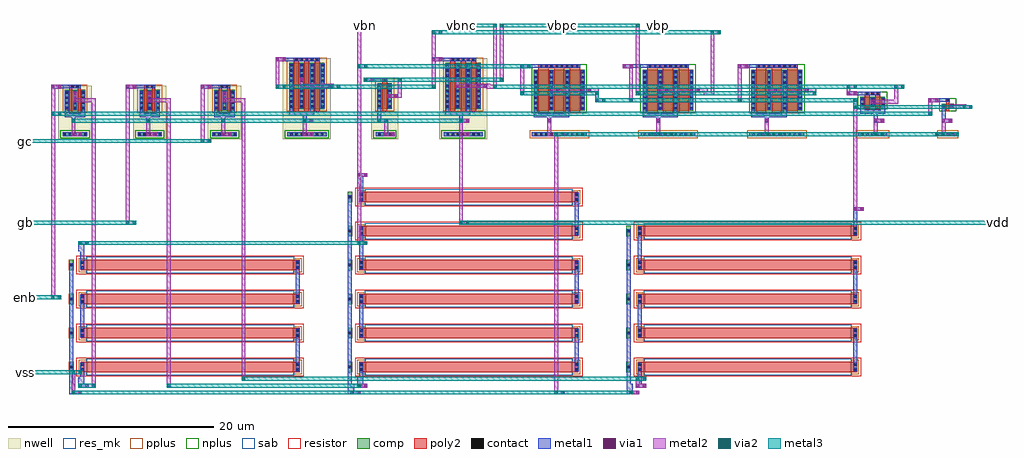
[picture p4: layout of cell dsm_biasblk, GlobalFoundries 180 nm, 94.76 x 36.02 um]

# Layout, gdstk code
import gdstk
lib = gdstk.Library(unit=1e-6, precision=1e-09)
def R(c, l, rs):  # rectangles x0, y0, x1, y1
    for r in rs: c.add(gdstk.rectangle(r[:2], r[2:], *l))
def A(c, l, x, y, w, h, nx, ny, dx, dy):  # array of equal rectangles
    R(c, l, [(x+i*dx, y+j*dy, x+i*dx+w, y+j*dy+h) for i in range(nx) for j in range(ny)])
nwell = (21, 0)
comp = (22, 0)
poly2 = (30, 0)
pplus = (31, 0)
nplus = (32, 0)
contact = (33, 0)
metal1 = (34, 0)
via1 = (35, 0)
metal2 = (36, 0)
via2 = (38, 0)
metal3 = (42, 0)
sab = (49, 0)
resistor = (62, 0)
res_mk = (110, 5)

dsm_biasblk_d8_n_m = lib.new_cell('dsm_biasblk_d8_n_m')
R(dsm_biasblk_d8_n_m, comp, [(0,0,1.16,0.5)])
R(dsm_biasblk_d8_n_m, poly2, [(0.44,-0.22,0.72,1.02), (0.4,0.66,0.76,1.02)])
R(dsm_biasblk_d8_n_m, nplus, [(-0.23,-0.23,1.39,1.02)])
R(dsm_biasblk_d8_n_m, contact, [(0.07,0.14,0.29,0.36), (0.87,0.14,1.09,0.36), (0.47,0.73,0.69,0.95)])
R(dsm_biasblk_d8_n_m, metal1, [(-0.01,-0.63,0.37,-0.25), (-0.01,-0.25,0.37,0.42), (0.79,0.06,1.17,0.44), (0.79,0.06,1.17,0.44), (-0.01,0.08,0.37,0.42), (0.79,0.08,1.17,0.42), (0.4,0.67,0.76,1.01)])
R(dsm_biasblk_d8_n_m, via1, [(0.85,0.12,1.11,0.38)])
R(dsm_biasblk_d8_n_m, metal2, [(0.79,0.06,1.17,0.44), (0.79,0.06,1.17,0.44), (0.79,0.06,1.17,0.44)])

dsm_biasblk_d8_n = lib.new_cell('dsm_biasblk_d8_n')
R(dsm_biasblk_d8_n, comp, [(1.6,0.48,3.16,0.84)])
R(dsm_biasblk_d8_n, pplus, [(1.37,0.25,3.39,1.07)])
A(dsm_biasblk_d8_n, contact, 1.77, 0.55, 0.22, 0.22, 3, 1, 0.5, 0)
R(dsm_biasblk_d8_n, metal1, [(1.6,0.47,3.16,0.85), (2.45,0.47,2.83,0.85), (1.79,1.79,2.17,2.87), (0.47,3.77,0.85,4.15), (0.47,3.79,2.56,4.13)])
R(dsm_biasblk_d8_n, metal2, [(3.77,3.11,4.15,3.56), (2.59,3.18,4.15,3.56)])
dsm_biasblk_d8_n.add(gdstk.Reference(dsm_biasblk_d8_n_m, (1.8,3.12)))

dsm_biasblk_d7_n_m = lib.new_cell('dsm_biasblk_d7_n_m')
R(dsm_biasblk_d7_n_m, comp, [(0,0,2.4,1)])
R(dsm_biasblk_d7_n_m, poly2, [(0.44,-0.22,0.94,1.5), (1.46,-0.22,1.96,1.5), (0.44,1.14,1.96,1.5)])
R(dsm_biasblk_d7_n_m, nplus, [(-0.23,-0.23,2.63,1.5)])
A(dsm_biasblk_d7_n_m, contact, 0.07, 0.14, 0.22, 0.22, 3, 2, 1.02, 0.5)
A(dsm_biasblk_d7_n_m, contact, 0.59, 1.21, 0.22, 0.22, 3, 1, 0.5, 0)
A(dsm_biasblk_d7_n_m, metal1, -0.01, 0.08, 0.38, 0.84, 3, 1, 1.02, 0)
R(dsm_biasblk_d7_n_m, metal1, [(-0.01,-0.63,2.41,-0.25), (-0.01,-0.25,0.37,0.92), (2.03,-0.25,2.41,0.92), (1.01,0.31,1.39,0.69), (1.01,0.31,1.39,0.69), (0.44,1.15,1.96,1.49)])
R(dsm_biasblk_d7_n_m, via1, [(1.07,0.37,1.33,0.63)])
R(dsm_biasblk_d7_n_m, metal2, [(1.01,0.31,1.39,0.69), (1.01,0.31,1.39,0.69), (1.01,0.31,1.39,0.69)])

dsm_biasblk_d7_n = lib.new_cell('dsm_biasblk_d7_n')
R(dsm_biasblk_d7_n, comp, [(1.6,0.48,4.4,0.84)])
R(dsm_biasblk_d7_n, pplus, [(1.37,0.25,4.63,1.07)])
A(dsm_biasblk_d7_n, contact, 1.89, 0.55, 0.22, 0.22, 5, 1, 0.5, 0)
R(dsm_biasblk_d7_n, metal1, [(1.6,0.47,4.4,0.85), (3.11,0.47,3.49,0.85), (3.11,1.79,3.49,3.05), (0.47,4.43,0.85,4.81), (0.47,4.45,3.76,4.79)])
R(dsm_biasblk_d7_n, metal2, [(2.81,3.61,5.47,3.99), (5.09,3.61,5.47,4.15)])
dsm_biasblk_d7_n.add(gdstk.Reference(dsm_biasblk_d7_n_m, (1.8,3.3)))

dsm_biasblk_d6_n_m = lib.new_cell('dsm_biasblk_d6_n_m')
R(dsm_biasblk_d6_n_m, comp, [(0,0,4.92,4)])
A(dsm_biasblk_d6_n_m, poly2, 0.44, -0.22, 1, 4.72, 3, 1, 1.52, 0)
R(dsm_biasblk_d6_n_m, poly2, [(0.44,4.14,4.48,4.5)])
R(dsm_biasblk_d6_n_m, nplus, [(-0.23,-0.23,5.15,4.5)])
A(dsm_biasblk_d6_n_m, contact, 0.07, 0.14, 0.22, 0.22, 4, 8, 1.52, 0.5)
A(dsm_biasblk_d6_n_m, contact, 0.6, 4.21, 0.22, 0.22, 8, 1, 0.5, 0)
A(dsm_biasblk_d6_n_m, metal1, -0.01, 0.08, 0.38, 3.84, 4, 1, 1.52, 0)
R(dsm_biasblk_d6_n_m, metal1, [(-0.01,-0.63,3.41,-0.25), (-0.01,-0.25,0.37,3.92), (3.03,-0.25,3.41,3.92), (1.51,1.81,2.51,2.19), (1.51,1.81,1.89,2.19), (1.51,1.81,1.89,2.19), (4.55,1.81,5.55,2.19), (4.55,1.81,4.93,2.19), (4.55,1.81,4.93,2.19), (0.44,4.15,4.48,4.49)])
R(dsm_biasblk_d6_n_m, via1, [(1.57,1.87,1.83,2.13), (2.19,1.87,2.45,2.13), (4.61,1.87,4.87,2.13), (5.23,1.87,5.49,2.13)])
R(dsm_biasblk_d6_n_m, metal2, [(1.51,1.81,2.51,2.19), (1.51,1.81,4.93,2.19), (1.51,1.81,1.89,2.19), (1.51,1.81,1.89,2.19), (4.55,1.81,5.55,2.19), (4.55,1.81,4.93,2.19), (4.55,1.81,4.93,2.19)])

dsm_biasblk_d6_n = lib.new_cell('dsm_biasblk_d6_n')
R(dsm_biasblk_d6_n, comp, [(1.6,1.14,6.92,1.5)])
R(dsm_biasblk_d6_n, pplus, [(1.37,0.91,7.15,1.73)])
A(dsm_biasblk_d6_n, contact, 1.9, 1.21, 0.22, 0.22, 10, 1, 0.5, 0)
R(dsm_biasblk_d6_n, metal1, [(1.6,1.13,6.92,1.51), (3.77,1.13,4.15,1.51), (3.11,2.45,3.49,3.35), (0.47,7.73,0.85,8.11), (0.47,7.75,6.28,8.09)])
R(dsm_biasblk_d6_n, metal2, [(7.73,5.09,8.11,5.79), (3.31,5.41,8.11,5.79)])
dsm_biasblk_d6_n.add(gdstk.Reference(dsm_biasblk_d6_n_m, (1.8,3.6)))

dsm_biasblk_d5_p_m = lib.new_cell('dsm_biasblk_d5_p_m')
R(dsm_biasblk_d5_p_m, nwell, [(-0.43,-0.43,1.81,2.93)])
R(dsm_biasblk_d5_p_m, comp, [(0,0,1.38,2.5)])
R(dsm_biasblk_d5_p_m, poly2, [(0.44,-0.22,0.94,3), (0.44,2.64,0.94,3)])
R(dsm_biasblk_d5_p_m, pplus, [(-0.23,-0.23,1.61,3)])
A(dsm_biasblk_d5_p_m, contact, 0.07, 0.14, 0.22, 0.22, 1, 5, 0, 0.5)
A(dsm_biasblk_d5_p_m, contact, 1.09, 0.14, 0.22, 0.22, 1, 5, 0, 0.5)
R(dsm_biasblk_d5_p_m, contact, [(0.58,2.71,0.8,2.93)])
R(dsm_biasblk_d5_p_m, metal1, [(-0.01,-0.63,0.37,-0.25), (-0.01,-0.25,0.37,2.42), (-0.01,0.08,0.37,2.42), (1.01,0.08,1.39,2.42), (1.01,1.06,2.01,1.44), (1.01,1.06,1.39,1.44), (1.01,1.06,1.39,1.44), (0.44,2.65,0.94,2.99)])
R(dsm_biasblk_d5_p_m, via1, [(1.07,1.12,1.33,1.38), (1.69,1.12,1.95,1.38)])
R(dsm_biasblk_d5_p_m, metal2, [(1.01,1.06,2.01,1.44), (1.01,1.06,1.39,1.44), (1.01,1.06,1.39,1.44), (1.01,1.06,1.39,1.44)])

dsm_biasblk_d5_p = lib.new_cell('dsm_biasblk_d5_p')
R(dsm_biasblk_d5_p, nwell, [(1.17,0.16,3.81,6.05)])
R(dsm_biasblk_d5_p, comp, [(1.6,0.48,3.38,0.84)])
R(dsm_biasblk_d5_p, nplus, [(1.37,0.25,3.61,1.07)])
A(dsm_biasblk_d5_p, contact, 1.88, 0.55, 0.22, 0.22, 3, 1, 0.5, 0)
R(dsm_biasblk_d5_p, metal1, [(1.6,0.47,3.38,0.85), (2.45,0.47,2.83,0.85), (1.79,1.79,2.17,2.87), (0.47,5.75,0.85,6.13), (0.47,5.77,2.74,6.11)])
R(dsm_biasblk_d5_p, metal2, [(2.81,4.18,4.15,4.56), (3.77,4.18,4.15,4.81)])
dsm_biasblk_d5_p.add(gdstk.Reference(dsm_biasblk_d5_p_m, (1.8,3.12)))

dsm_biasblk_d4_p_m = lib.new_cell('dsm_biasblk_d4_p_m')
R(dsm_biasblk_d4_p_m, nwell, [(-0.43,-0.43,3.85,4.93)])
R(dsm_biasblk_d4_p_m, comp, [(0,0,3.42,4.5)])
A(dsm_biasblk_d4_p_m, poly2, 0.44, -0.22, 0.5, 5.22, 3, 1, 1.02, 0)
R(dsm_biasblk_d4_p_m, poly2, [(0.44,4.64,2.98,5)])
R(dsm_biasblk_d4_p_m, pplus, [(-0.23,-0.23,3.65,5)])
A(dsm_biasblk_d4_p_m, contact, 0.07, 0.14, 0.22, 0.22, 4, 9, 1.02, 0.5)
A(dsm_biasblk_d4_p_m, contact, 0.6, 4.71, 0.22, 0.22, 5, 1, 0.5, 0)
A(dsm_biasblk_d4_p_m, metal1, -0.01, 0.08, 0.38, 4.34, 4, 1, 1.02, 0)
R(dsm_biasblk_d4_p_m, metal1, [(-0.01,-0.63,2.41,-0.25), (-0.01,-0.25,0.37,4.42), (2.03,-0.25,2.41,4.42), (1.01,2.06,1.39,3.06), (1.01,2.06,1.39,2.44), (1.01,2.06,1.39,2.44), (3.05,2.06,4.05,2.44), (3.05,2.06,3.43,2.44), (3.05,2.06,3.43,2.44), (0.44,4.65,2.98,4.99)])
R(dsm_biasblk_d4_p_m, via1, [(1.07,2.12,1.33,2.38), (3.11,2.12,3.37,2.38), (3.73,2.12,3.99,2.38), (1.07,2.74,1.33,3)])
R(dsm_biasblk_d4_p_m, metal2, [(1.01,2.06,1.39,3.06), (1.01,2.06,3.43,2.44), (1.01,2.06,1.39,2.44), (1.01,2.06,1.39,2.44), (3.05,2.06,4.05,2.44), (3.05,2.06,3.43,2.44), (3.05,2.06,3.43,2.44)])

dsm_biasblk_d4_p = lib.new_cell('dsm_biasblk_d4_p')
R(dsm_biasblk_d4_p, nwell, [(1.17,0.16,5.85,8.03)])
R(dsm_biasblk_d4_p, comp, [(1.6,0.48,5.42,0.84)])
R(dsm_biasblk_d4_p, nplus, [(1.37,0.25,5.65,1.07)])
A(dsm_biasblk_d4_p, contact, 1.9, 0.55, 0.22, 0.22, 7, 1, 0.5, 0)
R(dsm_biasblk_d4_p, metal1, [(1.6,0.47,5.42,0.85), (3.11,0.47,3.49,0.85), (3.11,1.79,3.49,2.85), (0.47,7.73,0.85,8.11), (0.47,7.75,4.78,8.09)])
R(dsm_biasblk_d4_p, metal2, [(5.75,5.09,6.13,5.54), (2.81,5.16,6.13,5.54)])
dsm_biasblk_d4_p.add(gdstk.Reference(dsm_biasblk_d4_p_m, (1.8,3.1)))

dsm_biasblk_d3_p_m = lib.new_cell('dsm_biasblk_d3_p_m')
R(dsm_biasblk_d3_p_m, nwell, [(-0.43,-0.43,2.39,2.43)])
R(dsm_biasblk_d3_p_m, comp, [(0,0,1.96,2)])
R(dsm_biasblk_d3_p_m, poly2, [(0.44,-0.22,0.72,2.5), (1.24,-0.22,1.52,2.5), (0.44,2.14,1.52,2.5)])
R(dsm_biasblk_d3_p_m, pplus, [(-0.23,-0.23,2.19,2.5)])
A(dsm_biasblk_d3_p_m, contact, 0.07, 0.14, 0.22, 0.22, 3, 4, 0.8, 0.5)
R(dsm_biasblk_d3_p_m, contact, [(0.62,2.21,0.84,2.43), (1.12,2.21,1.34,2.43)])
A(dsm_biasblk_d3_p_m, metal1, -0.01, 0.08, 0.38, 1.84, 3, 1, 0.8, 0)
R(dsm_biasblk_d3_p_m, metal1, [(-0.01,-0.63,1.97,-0.25), (-0.01,-0.25,0.37,1.92), (1.59,-0.25,1.97,1.92), (0.79,0.81,1.17,1.19), (0.79,0.81,1.17,1.19), (0.79,0.81,1.17,1.81), (0.44,2.15,1.52,2.49)])
R(dsm_biasblk_d3_p_m, via1, [(0.85,0.87,1.11,1.13), (0.85,1.49,1.11,1.75)])
R(dsm_biasblk_d3_p_m, metal2, [(0.79,0.81,1.17,1.81), (0.79,0.81,1.17,1.19), (0.79,0.81,1.17,1.19), (0.79,0.81,1.17,1.19)])

dsm_biasblk_d3_p = lib.new_cell('dsm_biasblk_d3_p')
R(dsm_biasblk_d3_p, nwell, [(1.17,0.16,4.39,5.39)])
R(dsm_biasblk_d3_p, comp, [(1.6,0.48,3.96,0.84)])
R(dsm_biasblk_d3_p, nplus, [(1.37,0.25,4.19,1.07)])
A(dsm_biasblk_d3_p, contact, 1.67, 0.55, 0.22, 0.22, 5, 1, 0.5, 0)
R(dsm_biasblk_d3_p, metal1, [(1.6,0.47,3.96,0.85), (2.45,0.47,2.83,0.85), (2.45,1.79,2.83,2.71), (0.47,5.09,0.85,5.47), (0.47,5.11,3.32,5.45)])
R(dsm_biasblk_d3_p, metal2, [(2.59,3.77,4.81,4.15), (4.43,3.77,4.81,4.15)])
dsm_biasblk_d3_p.add(gdstk.Reference(dsm_biasblk_d3_p_m, (1.8,2.96)))

dsm_biasblk_r2 = lib.new_cell('dsm_biasblk_r2')
A(dsm_biasblk_r2, comp, 2.2, 1.98, 0.42, 1, 1, 5, 0, 3.3)
A(dsm_biasblk_r2, poly2, 3.32, 1.98, 21.28, 1, 1, 5, 0, 3.3)
A(dsm_biasblk_r2, pplus, 3.14, 1.8, 0.82, 1.36, 1, 5, 0, 3.3)
A(dsm_biasblk_r2, pplus, 23.96, 1.8, 0.82, 1.36, 1, 5, 0, 3.3)
A(dsm_biasblk_r2, pplus, 2.18, 1.96, 0.46, 1.04, 1, 5, 0, 3.3)
A(dsm_biasblk_r2, contact, 2.3, 2.37, 0.22, 0.22, 1, 5, 0, 3.3)
R(dsm_biasblk_r2, contact, [(3.39,2.12,3.61,2.34), (24.31,2.12,24.53,2.34), (3.39,2.62,3.61,2.84), (24.31,2.62,24.53,2.84), (3.39,5.42,3.61,5.64), (24.31,5.42,24.53,5.64), (3.39,5.92,3.61,6.14), (24.31,5.92,24.53,6.14), (3.39,8.72,3.61,8.94), (24.31,8.72,24.53,8.94), (3.39,9.22,3.61,9.44), (24.31,9.22,24.53,9.44), (3.39,12.02,3.61,12.24), (24.31,12.02,24.53,12.24), (3.39,12.52,3.61,12.74), (24.31,12.52,24.53,12.74), (3.39,15.32,3.61,15.54), (24.31,15.32,24.53,15.54), (3.39,15.82,3.61,16.04), (24.31,15.82,24.53,16.04)])
A(dsm_biasblk_r2, metal1, 3.31, 2.06, 0.38, 0.84, 1, 5, 0, 3.3)
A(dsm_biasblk_r2, metal1, 24.23, 2.06, 0.38, 0.84, 1, 5, 0, 3.3)
A(dsm_biasblk_r2, metal1, 2.22, 2.29, 0.38, 0.38, 1, 5, 0, 3.3)
R(dsm_biasblk_r2, metal1, [(2.22,-0.19,2.83,0.84), (3.11,0.47,3.69,1.5), (2.22,0.66,2.6,2.48), (3.31,1.32,3.69,2.48), (2.22,2.48,2.6,15.68), (24.23,2.48,24.61,5.78), (3.31,5.78,3.69,9.08), (24.23,9.08,24.61,12.38), (3.31,12.38,3.69,15.68), (24.23,15.68,24.61,17.18), (24.23,17,24.61,18.01)])
A(dsm_biasblk_r2, sab, 3.86, 1.7, 20.2, 1.56, 1, 5, 0, 3.3)
A(dsm_biasblk_r2, resistor, 2.92, 1.58, 22.08, 1.8, 1, 5, 0, 3.3)
A(dsm_biasblk_r2, res_mk, 3.96, 1.98, 20, 1, 1, 5, 0, 3.3)

dsm_biasblk_r1 = lib.new_cell('dsm_biasblk_r1')
A(dsm_biasblk_r1, comp, 2.2, 1.98, 0.42, 1, 1, 6, 0, 3.3)
A(dsm_biasblk_r1, poly2, 3.32, 1.98, 21.28, 1, 1, 6, 0, 3.3)
A(dsm_biasblk_r1, pplus, 3.14, 1.8, 0.82, 1.36, 1, 6, 0, 3.3)
A(dsm_biasblk_r1, pplus, 23.96, 1.8, 0.82, 1.36, 1, 6, 0, 3.3)
A(dsm_biasblk_r1, pplus, 2.18, 1.96, 0.46, 1.04, 1, 6, 0, 3.3)
A(dsm_biasblk_r1, contact, 2.3, 2.37, 0.22, 0.22, 1, 6, 0, 3.3)
R(dsm_biasblk_r1, contact, [(3.39,2.12,3.61,2.34), (24.31,2.12,24.53,2.34), (3.39,2.62,3.61,2.84), (24.31,2.62,24.53,2.84), (3.39,5.42,3.61,5.64), (24.31,5.42,24.53,5.64), (3.39,5.92,3.61,6.14), (24.31,5.92,24.53,6.14), (3.39,8.72,3.61,8.94), (24.31,8.72,24.53,8.94), (3.39,9.22,3.61,9.44), (24.31,9.22,24.53,9.44), (3.39,12.02,3.61,12.24), (24.31,12.02,24.53,12.24), (3.39,12.52,3.61,12.74), (24.31,12.52,24.53,12.74), (3.39,15.32,3.61,15.54), (24.31,15.32,24.53,15.54), (3.39,15.82,3.61,16.04), (24.31,15.82,24.53,16.04), (3.39,18.62,3.61,18.84), (24.31,18.62,24.53,18.84), (3.39,19.12,3.61,19.34), (24.31,19.12,24.53,19.34)])
A(dsm_biasblk_r1, metal1, 3.31, 2.06, 0.38, 0.84, 1, 6, 0, 3.3)
A(dsm_biasblk_r1, metal1, 24.23, 2.06, 0.38, 0.84, 1, 6, 0, 3.3)
A(dsm_biasblk_r1, metal1, 2.22, 2.29, 0.38, 0.38, 1, 6, 0, 3.3)
A(dsm_biasblk_r1, metal1, 24.23, 2.48, 0.38, 3.3, 1, 3, 0, 6.6)
R(dsm_biasblk_r1, metal1, [(2.22,-0.19,2.83,0.84), (3.11,0.47,3.69,1.5), (2.22,0.66,2.6,2.48), (3.31,1.32,3.69,2.48), (2.22,2.48,2.6,18.98), (3.31,5.78,3.69,9.08), (3.31,12.38,3.69,15.68), (3.31,18.98,3.69,20.48), (3.11,20.3,3.69,21.31)])
A(dsm_biasblk_r1, sab, 3.86, 1.7, 20.2, 1.56, 1, 6, 0, 3.3)
A(dsm_biasblk_r1, resistor, 2.92, 1.58, 22.08, 1.8, 1, 6, 0, 3.3)
A(dsm_biasblk_r1, res_mk, 3.96, 1.98, 20, 1, 1, 6, 0, 3.3)

dsm_biasblk_r0 = lib.new_cell('dsm_biasblk_r0')
A(dsm_biasblk_r0, comp, 2.2, 1.98, 0.42, 1, 1, 4, 0, 3.3)
A(dsm_biasblk_r0, poly2, 3.32, 1.98, 21.28, 1, 1, 4, 0, 3.3)
A(dsm_biasblk_r0, pplus, 3.14, 1.8, 0.82, 1.36, 1, 4, 0, 3.3)
A(dsm_biasblk_r0, pplus, 23.96, 1.8, 0.82, 1.36, 1, 4, 0, 3.3)
A(dsm_biasblk_r0, pplus, 2.18, 1.96, 0.46, 1.04, 1, 4, 0, 3.3)
A(dsm_biasblk_r0, contact, 2.3, 2.37, 0.22, 0.22, 1, 4, 0, 3.3)
R(dsm_biasblk_r0, contact, [(3.39,2.12,3.61,2.34), (24.31,2.12,24.53,2.34), (3.39,2.62,3.61,2.84), (24.31,2.62,24.53,2.84), (3.39,5.42,3.61,5.64), (24.31,5.42,24.53,5.64), (3.39,5.92,3.61,6.14), (24.31,5.92,24.53,6.14), (3.39,8.72,3.61,8.94), (24.31,8.72,24.53,8.94), (3.39,9.22,3.61,9.44), (24.31,9.22,24.53,9.44), (3.39,12.02,3.61,12.24), (24.31,12.02,24.53,12.24), (3.39,12.52,3.61,12.74), (24.31,12.52,24.53,12.74)])
A(dsm_biasblk_r0, metal1, 3.31, 2.06, 0.38, 0.84, 1, 4, 0, 3.3)
A(dsm_biasblk_r0, metal1, 24.23, 2.06, 0.38, 0.84, 1, 4, 0, 3.3)
A(dsm_biasblk_r0, metal1, 2.22, 2.29, 0.38, 0.38, 1, 4, 0, 3.3)
R(dsm_biasblk_r0, metal1, [(2.22,-0.19,2.83,0.84), (3.11,0.47,3.69,1.5), (2.22,0.66,2.6,2.48), (3.31,1.32,3.69,2.48), (2.22,2.48,2.6,12.38), (24.23,2.48,24.61,5.78), (3.31,5.78,3.69,9.08), (24.23,9.08,24.61,12.38), (3.31,12.38,3.69,13.88), (3.11,13.7,3.69,14.71)])
A(dsm_biasblk_r0, sab, 3.86, 1.7, 20.2, 1.56, 1, 4, 0, 3.3)
A(dsm_biasblk_r0, resistor, 2.92, 1.58, 22.08, 1.8, 1, 4, 0, 3.3)
A(dsm_biasblk_r0, res_mk, 3.96, 1.98, 20, 1, 1, 4, 0, 3.3)

dsm_biasblk = lib.new_cell('dsm_biasblk')
A(dsm_biasblk, metal1, 4.43, 1.79, 1, 0.38, 3, 1, 27.06, 0)
A(dsm_biasblk, metal1, 4.43, 1.79, 0.38, 0.38, 3, 1, 27.06, 0)
A(dsm_biasblk, metal1, 5.09, 2.45, 1, 0.38, 3, 1, 27.06, 0)
A(dsm_biasblk, metal1, 5.09, 2.45, 0.38, 0.38, 3, 1, 27.06, 0)
A(dsm_biasblk, metal1, 4.43, 26.87, 1, 0.38, 3, 1, 7.26, 0)
A(dsm_biasblk, metal1, 4.43, 26.87, 0.38, 0.38, 3, 2, 7.26, 1.32)
A(dsm_biasblk, metal1, 51.29, 26.87, 1, 0.38, 3, 1, 10.56, 0)
A(dsm_biasblk, metal1, 51.29, 26.87, 0.38, 0.38, 3, 1, 10.56, 0)
A(dsm_biasblk, metal1, 50.63, 28.19, 0.38, 0.38, 4, 1, 10.56, 0)
A(dsm_biasblk, metal1, 2.45, 31.49, 1, 0.38, 3, 1, 7.26, 0)
A(dsm_biasblk, metal1, 2.45, 31.49, 0.38, 0.38, 3, 1, 7.26, 0)
A(dsm_biasblk, metal1, 47.99, 33.47, 0.38, 0.38, 3, 1, 10.56, 0)
R(dsm_biasblk, metal1, [(5.09,16.31,6.09,16.69), (5.09,16.31,5.47,16.69), (80.33,19.61,81.33,19.99), (80.33,19.61,80.71,19.99), (32.15,22.91,33.15,23.29), (32.15,22.91,32.53,23.29), (26.87,26.87,27.87,27.25), (26.87,26.87,27.25,27.25), (34.79,26.87,35.79,27.25), (34.79,26.87,35.17,27.25), (42.05,26.87,43.05,27.25), (42.05,26.87,42.43,27.25), (82.31,26.87,83.31,27.25), (82.31,26.87,82.69,27.25), (89.57,26.87,90.57,27.25), (89.57,26.87,89.95,27.25), (26.87,28.19,27.87,28.57), (26.87,28.19,27.25,28.57), (34.13,28.19,35.13,28.57), (34.13,28.19,34.51,28.57), (42.05,28.19,43.05,28.57), (42.05,28.19,42.43,28.57), (82.31,28.19,83.31,28.57), (88.91,28.19,89.91,28.57), (88.91,28.19,89.29,28.57), (87.59,30.17,88.59,30.55), (87.59,30.17,87.97,30.55), (79.67,30.83,80.67,31.21), (79.67,30.83,80.05,31.21), (32.81,32.15,33.81,32.53), (32.81,32.15,33.19,32.53), (47.99,33.47,48.99,33.85), (57.93,33.47,58.93,33.85), (69.11,33.47,70.11,33.85), (24.23,34.13,25.23,34.51), (24.23,34.13,24.61,34.51), (39.41,34.13,40.41,34.51), (39.41,34.13,39.79,34.51)])
A(dsm_biasblk, via1, 4.49, 28.25, 0.26, 0.26, 3, 1, 7.26, 0)
A(dsm_biasblk, via1, 50.69, 28.25, 0.26, 0.26, 4, 1, 10.56, 0)
R(dsm_biasblk, via1, [(4.49,1.85,4.75,2.11), (5.11,1.85,5.37,2.11), (31.55,1.85,31.81,2.11), (32.17,1.85,32.43,2.11), (58.61,1.85,58.87,2.11), (59.23,1.85,59.49,2.11), (5.15,2.51,5.41,2.77), (5.77,2.51,6.03,2.77), (32.21,2.51,32.47,2.77), (32.83,2.51,33.09,2.77), (59.27,2.51,59.53,2.77), (59.89,2.51,60.15,2.77), (5.15,16.37,5.41,16.63), (5.77,16.37,6.03,16.63), (80.39,19.67,80.65,19.93), (81.01,19.67,81.27,19.93), (32.21,22.97,32.47,23.23), (32.83,22.97,33.09,23.23), (4.49,26.93,4.75,27.19), (5.11,26.93,5.37,27.19), (11.75,26.93,12.01,27.19), (12.37,26.93,12.63,27.19), (19.01,26.93,19.27,27.19), (19.63,26.93,19.89,27.19), (26.93,26.93,27.19,27.19), (27.55,26.93,27.81,27.19), (34.85,26.93,35.11,27.19), (35.47,26.93,35.73,27.19), (42.11,26.93,42.37,27.19), (42.73,26.93,42.99,27.19), (51.35,26.93,51.61,27.19), (51.97,26.93,52.23,27.19), (61.91,26.93,62.17,27.19), (62.53,26.93,62.79,27.19), (72.47,26.93,72.73,27.19), (73.09,26.93,73.35,27.19), (82.37,26.93,82.63,27.19), (82.99,26.93,83.25,27.19), (89.63,26.93,89.89,27.19), (90.25,26.93,90.51,27.19), (26.93,28.25,27.19,28.51), (27.55,28.25,27.81,28.51), (34.19,28.25,34.45,28.51), (34.81,28.25,35.07,28.51), (42.11,28.25,42.37,28.51), (42.73,28.25,42.99,28.51), (82.99,28.25,83.25,28.51), (88.97,28.25,89.23,28.51), (89.59,28.25,89.85,28.51), (87.65,30.23,87.91,30.49), (88.27,30.23,88.53,30.49), (79.73,30.89,79.99,31.15), (80.35,30.89,80.61,31.15), (2.51,31.55,2.77,31.81), (3.13,31.55,3.39,31.81), (9.77,31.55,10.03,31.81), (10.39,31.55,10.65,31.81), (17.03,31.55,17.29,31.81), (17.65,31.55,17.91,31.81), (32.87,32.21,33.13,32.47), (33.49,32.21,33.75,32.47), (48.05,33.53,48.31,33.79), (48.67,33.53,48.93,33.79), (57.99,33.53,58.25,33.79), (58.61,33.53,58.87,33.79), (69.17,33.53,69.43,33.79), (69.79,33.53,70.05,33.79), (24.29,34.19,24.55,34.45), (24.91,34.19,25.17,34.45), (39.47,34.19,39.73,34.45), (40.09,34.19,40.35,34.45)])
A(dsm_biasblk, metal2, 4.43, 1.79, 0.38, 0.38, 1, 4, 0, 0.66)
A(dsm_biasblk, metal2, 4.43, 1.79, 0.38, 1.04, 1, 3, 0, 0.66)
A(dsm_biasblk, metal2, 51.29, 1.79, 0.38, 0.38, 1, 39, 0, 0.66)
A(dsm_biasblk, metal2, 51.29, 1.79, 0.38, 1.04, 1, 38, 0, 0.66)
A(dsm_biasblk, metal2, 5.09, 2.45, 1, 0.38, 3, 1, 27.06, 0)
A(dsm_biasblk, metal2, 6.41, 3.11, 0.38, 0.38, 3, 23, 7.26, 0.66)
A(dsm_biasblk, metal2, 6.41, 3.11, 0.38, 1.04, 3, 23, 7.26, 0.66)
A(dsm_biasblk, metal2, 2.45, 11.03, 0.38, 0.38, 1, 25, 0, 0.66)
A(dsm_biasblk, metal2, 2.45, 11.03, 0.38, 1.04, 1, 24, 0, 0.66)
A(dsm_biasblk, metal2, 32.15, 16.31, 0.38, 0.38, 1, 11, 0, 0.66)
A(dsm_biasblk, metal2, 32.15, 16.31, 0.38, 1.04, 1, 32, 0, 0.66)
A(dsm_biasblk, metal2, 6.41, 18.29, 0.38, 0.38, 1, 14, 0, 0.66)
A(dsm_biasblk, metal2, 6.41, 18.29, 0.38, 1.04, 1, 13, 0, 0.66)
A(dsm_biasblk, metal2, 9.71, 18.29, 0.38, 0.38, 1, 14, 0, 0.66)
A(dsm_biasblk, metal2, 9.71, 18.29, 0.38, 1.04, 1, 13, 0, 0.66)
A(dsm_biasblk, metal2, 13.67, 18.29, 0.38, 0.38, 1, 14, 0, 0.66)
A(dsm_biasblk, metal2, 13.67, 18.29, 0.38, 1.04, 1, 13, 0, 0.66)
A(dsm_biasblk, metal2, 20.93, 18.29, 0.38, 0.38, 1, 14, 0, 0.66)
A(dsm_biasblk, metal2, 20.93, 18.29, 0.38, 1.04, 1, 13, 0, 0.66)
A(dsm_biasblk, metal2, 42.05, 18.29, 0.38, 0.38, 1, 14, 0, 0.66)
A(dsm_biasblk, metal2, 42.05, 18.29, 0.38, 1.04, 1, 15, 0, 0.66)
A(dsm_biasblk, metal2, 80.33, 19.61, 0.38, 0.38, 1, 17, 0, 0.66)
A(dsm_biasblk, metal2, 80.33, 19.61, 0.38, 1.04, 1, 16, 0, 0.66)
A(dsm_biasblk, metal2, 32.15, 22.91, 0.38, 0.38, 1, 23, 0, 0.66)
A(dsm_biasblk, metal2, 2.45, 26.87, 0.38, 1.04, 3, 2, 1.98, 0.66)
A(dsm_biasblk, metal2, 4.43, 26.87, 1, 0.38, 3, 1, 7.26, 0)
A(dsm_biasblk, metal2, 9.71, 26.87, 0.38, 1.04, 3, 2, 1.98, 0.66)
A(dsm_biasblk, metal2, 16.97, 26.87, 0.38, 1.04, 3, 2, 1.98, 0.66)
A(dsm_biasblk, metal2, 26.87, 26.87, 0.38, 0.38, 1, 3, 0, 0.66)
A(dsm_biasblk, metal2, 34.79, 26.87, 0.38, 0.38, 1, 3, 0, 0.66)
A(dsm_biasblk, metal2, 42.05, 26.87, 0.38, 0.38, 1, 3, 0, 0.66)
A(dsm_biasblk, metal2, 50.63, 26.87, 1.04, 0.38, 3, 1, 10.56, 0)
A(dsm_biasblk, metal2, 50.63, 26.87, 0.38, 1.04, 3, 2, 10.56, 0.66)
A(dsm_biasblk, metal2, 82.31, 26.87, 0.38, 0.38, 1, 3, 0, 0.66)
A(dsm_biasblk, metal2, 88.91, 26.87, 0.38, 0.38, 1, 3, 0, 0.66)
A(dsm_biasblk, metal2, 2.45, 27.53, 0.38, 0.38, 3, 1, 1.98, 0)
A(dsm_biasblk, metal2, 9.71, 27.53, 0.38, 0.38, 3, 1, 1.98, 0)
A(dsm_biasblk, metal2, 16.97, 27.53, 0.38, 0.38, 3, 1, 1.98, 0)
A(dsm_biasblk, metal2, 50.63, 27.53, 0.38, 0.38, 3, 1, 10.56, 0)
A(dsm_biasblk, metal2, 2.45, 28.19, 0.38, 0.38, 1, 4, 0, 0.66)
A(dsm_biasblk, metal2, 2.45, 28.19, 0.38, 1.04, 1, 3, 0, 0.66)
A(dsm_biasblk, metal2, 6.41, 28.19, 0.38, 0.38, 1, 4, 0, 0.66)
A(dsm_biasblk, metal2, 6.41, 28.19, 0.38, 1.04, 1, 3, 0, 0.66)
A(dsm_biasblk, metal2, 9.71, 28.19, 0.38, 0.38, 1, 4, 0, 0.66)
A(dsm_biasblk, metal2, 9.71, 28.19, 0.38, 1.04, 1, 3, 0, 0.66)
A(dsm_biasblk, metal2, 13.67, 28.19, 0.38, 0.38, 1, 4, 0, 0.66)
A(dsm_biasblk, metal2, 13.67, 28.19, 0.38, 1.04, 1, 3, 0, 0.66)
A(dsm_biasblk, metal2, 16.97, 28.19, 0.38, 0.38, 1, 4, 0, 0.66)
A(dsm_biasblk, metal2, 16.97, 28.19, 0.38, 1.04, 1, 3, 0, 0.66)
A(dsm_biasblk, metal2, 20.93, 28.19, 0.38, 0.38, 1, 4, 0, 0.66)
A(dsm_biasblk, metal2, 20.93, 28.19, 0.38, 1.04, 1, 3, 0, 0.66)
A(dsm_biasblk, metal2, 87.59, 28.85, 0.38, 0.38, 1, 3, 0, 0.66)
A(dsm_biasblk, metal2, 2.45, 30.17, 0.38, 1.04, 3, 2, 7.26, 0.66)
A(dsm_biasblk, metal2, 58.55, 30.17, 0.38, 0.38, 1, 6, 0, 0.66)
A(dsm_biasblk, metal2, 58.55, 30.17, 0.38, 1.04, 1, 5, 0, 0.66)
A(dsm_biasblk, metal2, 69.11, 30.17, 0.38, 0.38, 1, 6, 0, 0.66)
A(dsm_biasblk, metal2, 69.11, 30.17, 0.38, 1.04, 1, 5, 0, 0.66)
A(dsm_biasblk, metal2, 84.29, 30.17, 0.38, 0.38, 1, 3, 0, 0.66)
A(dsm_biasblk, metal2, 2.45, 30.83, 0.38, 0.38, 3, 1, 7.26, 0)
A(dsm_biasblk, metal2, 47.99, 30.83, 0.38, 0.38, 1, 5, 0, 0.66)
A(dsm_biasblk, metal2, 47.99, 30.83, 0.38, 1.04, 1, 4, 0, 0.66)
A(dsm_biasblk, metal2, 59.21, 30.83, 0.38, 0.38, 1, 11, 0, 0.66)
A(dsm_biasblk, metal2, 59.21, 30.83, 0.38, 1.04, 1, 10, 0, 0.66)
A(dsm_biasblk, metal2, 66.47, 30.83, 0.38, 0.38, 1, 10, 0, 0.66)
A(dsm_biasblk, metal2, 66.47, 30.83, 0.38, 1.04, 1, 9, 0, 0.66)
A(dsm_biasblk, metal2, 2.45, 31.49, 1, 0.38, 4, 1, 7.26, 0)
A(dsm_biasblk, metal2, 24.23, 31.49, 0.38, 0.38, 1, 5, 0, 0.66)
A(dsm_biasblk, metal2, 24.23, 31.49, 0.38, 1.04, 1, 4, 0, 0.66)
A(dsm_biasblk, metal2, 39.41, 31.49, 0.38, 1.04, 1, 8, 0, 0.66)
A(dsm_biasblk, metal2, 45.35, 31.49, 0.38, 0.38, 1, 10, 0, 0.66)
A(dsm_biasblk, metal2, 45.35, 31.49, 0.38, 1.04, 1, 9, 0, 0.66)
A(dsm_biasblk, metal2, 32.81, 32.15, 0.38, 0.38, 3, 1, 3.3, 0)
A(dsm_biasblk, metal2, 46.01, 32.15, 0.38, 0.38, 1, 9, 0, 0.66)
A(dsm_biasblk, metal2, 46.01, 32.15, 0.38, 1.04, 1, 8, 0, 0.66)
A(dsm_biasblk, metal2, 39.41, 32.81, 0.38, 0.38, 1, 3, 0, 0.66)
A(dsm_biasblk, metal2, 39.41, 34.13, 0.38, 0.38, 1, 5, 0, 0.66)
R(dsm_biasblk, metal2, [(4.43,1.79,5.43,2.17), (4.43,1.79,4.81,2.17), (31.49,1.79,32.49,2.17), (31.49,1.79,31.87,2.17), (31.49,1.79,31.87,2.17), (51.29,1.79,52.29,2.17), (58.55,1.79,59.55,2.17), (58.55,1.79,58.93,2.17), (58.55,1.79,58.93,2.17), (5.09,2.45,5.47,2.83), (5.09,2.45,5.47,2.83), (6.41,2.45,6.79,2.83), (6.41,2.45,6.79,3.49), (13.67,2.45,14.05,2.83), (13.67,2.45,14.05,3.49), (32.15,2.45,32.53,2.83), (32.15,2.45,32.53,2.83), (59.21,2.45,59.59,2.83), (59.21,2.45,59.59,2.83), (59.21,2.45,59.59,3.49), (59.21,3.11,60.21,3.49), (59.21,3.11,59.59,3.49), (4.43,3.77,5.43,4.15), (2.45,11.03,3.45,11.41), (5.09,16.31,6.09,16.69), (5.09,16.31,6.09,16.69), (5.09,16.31,5.47,16.69), (5.09,16.31,5.47,16.69), (32.15,16.31,33.15,16.69), (9.71,18.29,10.71,18.67), (42.05,18.29,43.05,18.67), (80.33,19.61,81.33,19.99), (80.33,19.61,80.71,19.99), (32.15,22.91,33.15,23.29), (16.97,26.21,17.97,26.59), (16.97,26.21,17.35,26.59), (16.97,26.21,17.35,27.25), (4.43,26.87,4.81,27.25), (4.43,26.87,4.81,27.25), (11.69,26.87,12.07,27.25), (11.69,26.87,12.07,27.25), (16.97,26.87,17.35,27.25), (18.95,26.87,19.33,27.25), (18.95,26.87,19.33,27.25), (26.87,26.87,27.87,27.25), (26.87,26.87,27.25,27.25), (26.87,26.87,27.25,27.91), (34.79,26.87,35.79,27.25), (34.79,26.87,35.17,27.25), (34.79,26.87,35.17,27.91), (42.05,26.87,43.05,27.25), (50.63,26.87,51.01,27.25), (51.29,26.87,52.29,27.25), (51.29,26.87,52.29,27.25), (51.29,26.87,51.67,27.25), (60.57,26.87,61.57,27.25), (61.19,26.87,61.57,27.25), (61.85,26.87,62.85,27.25), (61.85,26.87,62.85,27.25), (61.85,26.87,62.23,27.25), (61.85,26.87,62.23,27.25), (71.13,26.87,72.13,27.25), (71.75,26.87,72.13,27.25), (72.41,26.87,73.41,27.25), (72.41,26.87,73.41,27.25), (72.41,26.87,72.79,27.25), (72.41,26.87,72.79,27.25), (82.31,26.87,83.31,27.25), (82.31,26.87,83.31,27.25), (82.31,26.87,82.69,27.25), (82.31,26.87,82.69,27.91), (88.29,26.87,89.29,27.25), (88.91,26.87,89.95,27.25), (88.91,26.87,89.29,27.91), (89.57,26.87,90.57,27.25), (89.57,26.87,90.57,27.25), (89.57,26.87,89.95,27.25), (89.57,26.87,89.95,27.25), (26.87,27.53,27.25,28.57), (34.79,27.53,35.17,28.57), (82.31,27.53,82.69,28.57), (88.91,27.53,89.29,28.57), (4.43,28.19,4.81,28.57), (4.43,28.19,4.81,28.57), (11.69,28.19,12.07,28.57), (11.69,28.19,12.07,28.57), (18.95,28.19,19.33,28.57), (18.95,28.19,19.33,28.57), (26.87,28.19,27.87,28.57), (26.87,28.19,27.25,28.57), (34.13,28.19,35.13,28.57), (34.13,28.19,35.17,28.57), (34.13,28.19,34.51,28.57), (34.13,28.19,34.51,28.57), (42.05,28.19,43.05,28.57), (42.05,28.19,42.43,28.57), (50.63,28.19,51.01,28.57), (50.63,28.19,51.01,28.57), (61.19,28.19,61.57,28.57), (61.19,28.19,61.57,28.57), (71.75,28.19,72.13,28.57), (71.75,28.19,72.13,28.57), (82.31,28.19,83.31,28.57), (82.31,28.19,82.69,28.57), (88.91,28.19,89.91,28.57), (88.91,28.19,89.29,28.57), (2.45,28.85,3.45,29.23), (87.59,28.85,87.97,29.89), (87.59,29.51,87.97,30.55), (90.89,29.51,91.89,29.89), (90.89,29.51,91.27,29.89), (55.25,30.17,56.25,30.55), (55.25,30.17,55.63,30.55), (55.25,30.17,55.63,31.21), (84.29,30.17,84.67,31.21), (87.59,30.17,88.59,30.55), (87.59,30.17,87.97,30.55), (36.11,30.83,36.49,31.21), (36.11,30.83,36.49,31.87), (55.25,30.83,55.63,31.21), (65.81,30.83,66.85,31.21), (65.81,30.83,66.19,31.21), (76.37,30.83,76.75,31.21), (79.67,30.83,80.67,31.21), (79.67,30.83,80.05,31.21), (79.67,30.83,80.05,31.21), (79.67,30.83,80.05,31.87), (84.29,30.83,84.67,31.87), (2.45,31.49,2.83,31.87), (2.45,31.49,2.83,31.87), (9.71,31.49,10.09,31.87), (9.71,31.49,10.09,31.87), (16.97,31.49,17.35,31.87), (16.97,31.49,17.35,31.87), (29.51,31.49,30.51,31.87), (29.51,31.49,29.89,31.87), (36.11,31.49,36.49,31.87), (36.11,31.49,36.49,32.53), (39.41,31.49,39.79,31.87), (44.69,31.49,45.73,31.87), (44.69,31.49,45.07,31.87), (79.67,31.49,80.67,31.87), (79.67,31.49,80.05,31.87), (84.29,31.49,85.29,31.87), (32.81,32.15,33.81,32.53), (32.81,32.15,33.19,32.53), (32.15,33.47,33.15,33.85), (47.99,33.47,48.99,33.85), (47.99,33.47,48.99,33.85), (47.99,33.47,48.37,33.85), (57.93,33.47,58.93,33.85), (58.55,33.47,58.93,33.85), (69.11,33.47,70.11,33.85), (69.11,33.47,69.49,33.85), (24.23,34.13,25.23,34.51), (24.23,34.13,24.61,34.51), (39.41,34.13,40.41,34.51), (39.41,36.77,40.41,37.15), (66.47,36.77,67.47,37.15), (32.15,37.43,33.15,37.81)])
A(dsm_biasblk, via2, 4.49, 28.25, 0.26, 0.26, 3, 1, 7.26, 0)
R(dsm_biasblk, via2, [(4.49,1.85,4.75,2.11), (31.55,1.85,31.81,2.11), (51.35,1.85,51.61,2.11), (51.97,1.85,52.23,2.11), (58.61,1.85,58.87,2.11), (5.15,2.51,5.41,2.77), (6.47,2.51,6.73,2.77), (13.73,2.51,13.99,2.77), (32.21,2.51,32.47,2.77), (20.99,3.17,21.25,3.43), (59.27,3.17,59.53,3.43), (59.89,3.17,60.15,3.43), (4.49,3.83,4.75,4.09), (5.11,3.83,5.37,4.09), (2.51,11.09,2.77,11.35), (3.13,11.09,3.39,11.35), (5.15,16.37,5.41,16.63), (5.77,16.37,6.03,16.63), (32.21,16.37,32.47,16.63), (32.83,16.37,33.09,16.63), (9.77,18.35,10.03,18.61), (10.39,18.35,10.65,18.61), (42.11,18.35,42.37,18.61), (42.73,18.35,42.99,18.61), (17.03,26.27,17.29,26.53), (17.65,26.27,17.91,26.53), (51.35,26.93,51.61,27.19), (51.97,26.93,52.23,27.19), (60.63,26.93,60.89,27.19), (61.25,26.93,61.51,27.19), (61.91,26.93,62.17,27.19), (62.53,26.93,62.79,27.19), (71.19,26.93,71.45,27.19), (71.81,26.93,72.07,27.19), (72.47,26.93,72.73,27.19), (73.09,26.93,73.35,27.19), (82.37,26.93,82.63,27.19), (82.99,26.93,83.25,27.19), (88.35,26.93,88.61,27.19), (88.97,26.93,89.23,27.19), (89.63,26.93,89.89,27.19), (90.25,26.93,90.51,27.19), (26.93,28.25,27.19,28.51), (34.19,28.25,34.45,28.51), (34.85,28.25,35.11,28.51), (42.11,28.25,42.37,28.51), (2.51,28.91,2.77,29.17), (3.13,28.91,3.39,29.17), (87.65,28.91,87.91,29.17), (80.39,29.57,80.65,29.83), (90.95,29.57,91.21,29.83), (91.57,29.57,91.83,29.83), (55.31,30.23,55.57,30.49), (55.93,30.23,56.19,30.49), (58.61,30.23,58.87,30.49), (69.17,30.23,69.43,30.49), (80.39,30.23,80.65,30.49), (48.05,30.89,48.31,31.15), (55.31,30.89,55.57,31.15), (59.27,30.89,59.53,31.15), (76.43,30.89,76.69,31.15), (24.29,31.55,24.55,31.81), (24.91,31.55,25.17,31.81), (29.57,31.55,29.83,31.81), (30.19,31.55,30.45,31.81), (39.47,31.55,39.73,31.81), (45.41,31.55,45.67,31.81), (79.73,31.55,79.99,31.81), (80.35,31.55,80.61,31.81), (84.35,31.55,84.61,31.81), (84.97,31.55,85.23,31.81), (32.87,32.21,33.13,32.47), (36.17,32.21,36.43,32.47), (46.07,32.21,46.33,32.47), (32.21,33.53,32.47,33.79), (32.83,33.53,33.09,33.79), (48.05,33.53,48.31,33.79), (48.67,33.53,48.93,33.79), (39.47,36.83,39.73,37.09), (40.09,36.83,40.35,37.09), (66.53,36.83,66.79,37.09), (67.15,36.83,67.41,37.09), (32.21,37.49,32.47,37.75), (32.83,37.49,33.09,37.75), (45.41,37.49,45.67,37.75), (46.07,37.49,46.33,37.75), (59.27,37.49,59.53,37.75)])
A(dsm_biasblk, metal3, 4.43, 1.79, 0.38, 0.38, 83, 1, 0.66, 0)
A(dsm_biasblk, metal3, 4.43, 1.79, 1.04, 0.38, 82, 1, 0.66, 0)
A(dsm_biasblk, metal3, 5.09, 2.45, 0.38, 0.38, 3, 1, 0.66, 0)
A(dsm_biasblk, metal3, 13.67, 2.45, 0.38, 0.38, 29, 1, 0.66, 0)
A(dsm_biasblk, metal3, 13.67, 2.45, 1.04, 0.38, 28, 1, 0.66, 0)
A(dsm_biasblk, metal3, 20.93, 3.11, 0.38, 0.38, 59, 1, 0.66, 0)
A(dsm_biasblk, metal3, 20.93, 3.11, 1.04, 0.38, 58, 1, 0.66, 0)
A(dsm_biasblk, metal3, -0.19, 3.77, 0.38, 0.38, 8, 1, 0.66, 0)
A(dsm_biasblk, metal3, -0.19, 3.77, 1.04, 0.38, 7, 1, 0.66, 0)
A(dsm_biasblk, metal3, -0.19, 11.03, 0.38, 0.38, 5, 1, 0.66, 0)
A(dsm_biasblk, metal3, -0.19, 11.03, 1.04, 0.38, 4, 1, 0.66, 0)
A(dsm_biasblk, metal3, 5.09, 16.31, 0.38, 0.38, 42, 1, 0.66, 0)
A(dsm_biasblk, metal3, 5.09, 16.31, 1.04, 0.38, 41, 1, 0.66, 0)
A(dsm_biasblk, metal3, -0.19, 18.29, 0.38, 0.38, 16, 1, 0.66, 0)
A(dsm_biasblk, metal3, -0.19, 18.29, 1.04, 0.38, 15, 1, 0.66, 0)
A(dsm_biasblk, metal3, 42.05, 18.29, 0.38, 0.38, 80, 1, 0.66, 0)
A(dsm_biasblk, metal3, 42.05, 18.29, 1.04, 0.38, 79, 1, 0.66, 0)
A(dsm_biasblk, metal3, -0.19, 26.21, 0.38, 0.38, 27, 1, 0.66, 0)
A(dsm_biasblk, metal3, -0.19, 26.21, 1.04, 0.38, 26, 1, 0.66, 0)
A(dsm_biasblk, metal3, 51.29, 26.87, 0.38, 0.38, 59, 1, 0.66, 0)
A(dsm_biasblk, metal3, 51.29, 26.87, 1.04, 0.38, 58, 1, 0.66, 0)
A(dsm_biasblk, metal3, 4.43, 28.19, 0.38, 0.38, 58, 1, 0.66, 0)
A(dsm_biasblk, metal3, 4.43, 28.19, 1.04, 0.38, 57, 1, 0.66, 0)
A(dsm_biasblk, metal3, 2.45, 28.85, 0.38, 0.38, 130, 1, 0.66, 0)
A(dsm_biasblk, metal3, 2.45, 28.85, 1.04, 0.38, 129, 1, 0.66, 0)
A(dsm_biasblk, metal3, 80.33, 29.51, 0.38, 0.38, 17, 1, 0.66, 0)
A(dsm_biasblk, metal3, 80.33, 29.51, 1.04, 0.38, 16, 1, 0.66, 0)
A(dsm_biasblk, metal3, 55.25, 30.17, 0.38, 0.38, 39, 1, 0.66, 0)
A(dsm_biasblk, metal3, 55.25, 30.17, 1.04, 0.38, 38, 1, 0.66, 0)
A(dsm_biasblk, metal3, 47.99, 30.83, 0.38, 0.38, 12, 1, 0.66, 0)
A(dsm_biasblk, metal3, 47.99, 30.83, 1.04, 0.38, 11, 1, 0.66, 0)
A(dsm_biasblk, metal3, 59.21, 30.83, 0.38, 0.38, 27, 1, 0.66, 0)
A(dsm_biasblk, metal3, 59.21, 30.83, 1.04, 0.38, 26, 1, 0.66, 0)
A(dsm_biasblk, metal3, 24.23, 31.49, 0.38, 0.38, 24, 1, 0.66, 0)
A(dsm_biasblk, metal3, 24.23, 31.49, 1.04, 0.38, 23, 1, 0.66, 0)
A(dsm_biasblk, metal3, 45.35, 31.49, 0.38, 0.38, 60, 1, 0.66, 0)
A(dsm_biasblk, metal3, 45.35, 31.49, 1.04, 0.38, 59, 1, 0.66, 0)
A(dsm_biasblk, metal3, 32.81, 32.15, 0.38, 0.38, 21, 1, 0.66, 0)
A(dsm_biasblk, metal3, 32.81, 32.15, 1.04, 0.38, 20, 1, 0.66, 0)
A(dsm_biasblk, metal3, 32.15, 33.47, 0.38, 0.38, 25, 1, 0.66, 0)
A(dsm_biasblk, metal3, 32.15, 33.47, 1.04, 0.38, 24, 1, 0.66, 0)
A(dsm_biasblk, metal3, 39.41, 36.77, 0.38, 0.38, 42, 1, 0.66, 0)
A(dsm_biasblk, metal3, 39.41, 36.77, 1.04, 0.38, 41, 1, 0.66, 0)
A(dsm_biasblk, metal3, 42.05, 37.43, 0.38, 0.38, 27, 1, 0.66, 0)
A(dsm_biasblk, metal3, 42.05, 37.43, 1.04, 0.38, 5, 1, 0.66, 0)
A(dsm_biasblk, metal3, 46.01, 37.43, 1.04, 0.38, 20, 1, 0.66, 0)
R(dsm_biasblk, metal3, [(51.29,1.79,52.29,2.17), (5.09,2.45,6.13,2.83), (5.75,2.45,6.79,2.83), (59.21,3.11,60.21,3.49), (4.43,3.77,5.43,4.15), (2.45,11.03,3.45,11.41), (5.09,16.31,6.09,16.69), (32.15,16.31,33.15,16.69), (9.71,18.29,10.71,18.67), (42.05,18.29,43.05,18.67), (16.97,26.21,17.97,26.59), (51.29,26.87,52.29,27.25), (60.57,26.87,61.57,27.25), (61.85,26.87,62.85,27.25), (71.13,26.87,72.13,27.25), (72.41,26.87,73.41,27.25), (82.31,26.87,83.31,27.25), (88.29,26.87,89.29,27.25), (89.57,26.87,90.57,27.25), (2.45,28.85,3.45,29.23), (80.33,29.51,80.71,30.55), (90.89,29.51,91.89,29.89), (55.25,30.17,55.63,31.21), (55.25,30.17,56.25,30.55), (24.23,31.49,25.23,31.87), (29.51,31.49,30.51,31.87), (79.67,31.49,80.67,31.87), (84.29,31.49,85.29,31.87), (32.15,33.47,33.15,33.85), (47.99,33.47,48.99,33.85), (39.41,36.77,40.41,37.15), (61.19,36.77,61.57,37.81), (66.47,36.77,67.47,37.15), (32.15,37.43,33.15,37.81), (32.15,37.43,32.53,37.81), (32.15,37.43,33.19,37.81), (32.81,37.43,33.19,37.81), (61.19,37.43,61.57,37.81)])
dsm_biasblk.add(gdstk.Reference(dsm_biasblk_d8_n, (87.12,26.4)))
dsm_biasblk.add(gdstk.Reference(dsm_biasblk_d7_n, (79.2,26.4)))
dsm_biasblk.add(gdstk.Reference(dsm_biasblk_d6_n, (47.52,25.74)))
dsm_biasblk.add(gdstk.Reference(dsm_biasblk_d6_n, (58.08,25.74)))
dsm_biasblk.add(gdstk.Reference(dsm_biasblk_d6_n, (68.64,25.74)))
dsm_biasblk.add(gdstk.Reference(dsm_biasblk_d5_p, (32.34,26.4)))
dsm_biasblk.add(gdstk.Reference(dsm_biasblk_d4_p, (23.76,26.4)))
dsm_biasblk.add(gdstk.Reference(dsm_biasblk_d4_p, (38.94,26.4)))
dsm_biasblk.add(gdstk.Reference(dsm_biasblk_d3_p, (1.98,26.4)))
dsm_biasblk.add(gdstk.Reference(dsm_biasblk_d3_p, (9.24,26.4)))
dsm_biasblk.add(gdstk.Reference(dsm_biasblk_d3_p, (16.5,26.4)))
dsm_biasblk.add(gdstk.Reference(dsm_biasblk_r2, (56.1,1.98)))
dsm_biasblk.add(gdstk.Reference(dsm_biasblk_r1, (29.04,1.98)))
dsm_biasblk.add(gdstk.Reference(dsm_biasblk_r0, (1.98,1.98)))
dsm_biasblk.add(gdstk.Label('vdd', (94.38,18.48), layer=42, texttype=10))
dsm_biasblk.add(gdstk.Label('vbp', (61.38,37.62), layer=42, texttype=10))
dsm_biasblk.add(gdstk.Label('vbpc', (52.14,37.62), layer=42, texttype=10))
dsm_biasblk.add(gdstk.Label('vbn', (33,37.62), layer=42, texttype=10))
dsm_biasblk.add(gdstk.Label('gc', (0,26.4), layer=42, texttype=10))
dsm_biasblk.add(gdstk.Label('vss', (0,3.96), layer=42, texttype=10))
dsm_biasblk.add(gdstk.Label('gb', (0,18.48), layer=42, texttype=10))
dsm_biasblk.add(gdstk.Label('vbnc', (42.24,37.62), layer=42, texttype=10))
dsm_biasblk.add(gdstk.Label('enb', (0,11.22), layer=42, texttype=10))

lib.write_gds('dsm_biasblk.gds')
